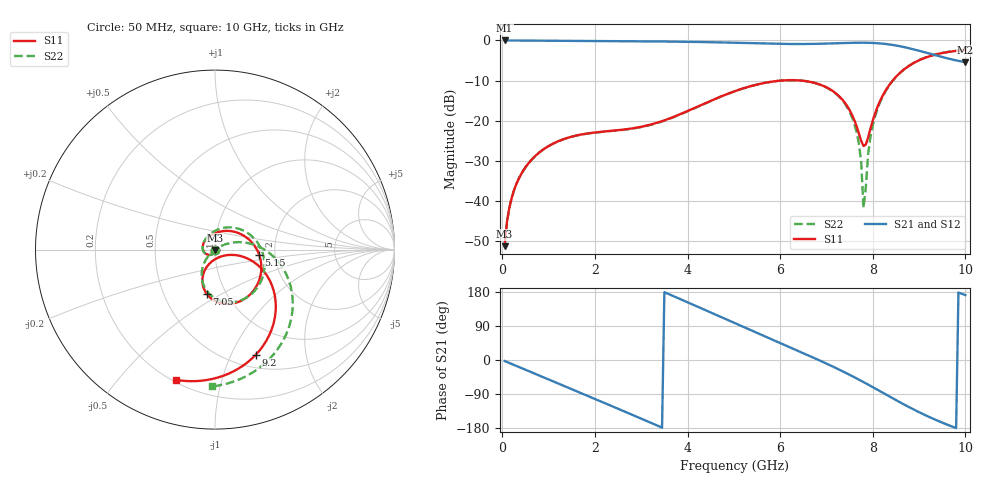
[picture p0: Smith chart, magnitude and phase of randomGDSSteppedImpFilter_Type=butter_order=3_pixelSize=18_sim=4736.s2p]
! freq	dB(S11)	phase(S11)	dB(S12)	phase(S12)
!  dB(S21)	phase(S21)	dB(S22)	phase(S22)
!S-par simulation data
#  GHz  S  DB  R 50
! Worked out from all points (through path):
!   200 points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, 50 MHz to 10 GHz, reference 50 ohm
!   highest |S21| = -0.01 dB at 50 MHz (marker M1); lowest = -5.4 dB at 10 GHz (marker M2)
!   group delay of S21, straight-line fit = 153 ps
!   lowest |S11| = -51.3 dB at 50 MHz (marker M3), VSWR 1.01, Z = 50 - j0.272 ohm
!   |S11| at or under -10 dB: start of sweep to 6.024 GHz; 6.455 GHz to 8.431 GHz (1.976 GHz wide, 26.6 % of centre)
!   |S22| runs from -51.1 to -2.4 dB; largest |S21 - S12| = 0
!   S11 on the Smith chart (normalised r, x): 50 MHz: 1.00, -0.01; 5.15 GHz: 1.65, -0.10; 7.05 GHz: 0.81, -0.43; 9.2 GHz: 0.64, -1.25; 10 GHz: 0.21, -0.72
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0.05  -51.27 -83.7  -0.01 -2.6  -0.01 -2.6  -51.05 -83.9
0.2  -39.34 -98.5  -0.02 -10.3  -0.02 -10.3  -39.39 -98.0
0.5  -31.62 -116.3  -0.04 -25.7  -0.04 -25.7  -31.62 -115.3
1.15  -25.42 -151.9  -0.08 -59.1  -0.08 -59.1  -25.42 -149.0
1.75  -23.35 175.4  -0.12 -89.9  -0.12 -89.9  -23.37 -179.1
2.5  -22.37 133.5  -0.18 -128.6  -0.18 -128.6  -22.41 144.1
3.4  -20.30 83.3  -0.26 -175.8  -0.26 -175.8  -20.38 99.6
4.15  -16.83 44.1  -0.37 144.3  -0.37 144.3  -16.89 60.2
5.05  -12.53 -1.4  -0.59 95.8  -0.59 95.8  -12.54 11.4
5.15  -12.14 -6.4  -0.62 90.4  -0.62 90.4  -12.15 5.9
5.85  -10.22 -41.6  -0.83 52.9  -0.83 52.9  -10.22 -31.8
6.7  -10.45 -83.6  -0.87 7.2  -0.87 7.2  -10.47 -77.4
7.05  -11.99 -100.4  -0.77 -12.3  -0.77 -12.3  -12.05 -96.9
7.6  -19.81 -115.1  -0.58 -45.3  -0.58 -45.3  -20.72 -129.7
7.75  -25.02 -93.6  -0.56 -55.0  -0.56 -55.0  -30.34 -139.1
7.8  -26.30 -73.9  -0.56 -58.2  -0.56 -58.2  -41.74 -141.8
7.9  -24.14 -32.6  -0.58 -64.8  -0.58 -64.8  -28.28 30.7
8  -19.95 -17.0  -0.62 -71.6  -0.62 -71.6  -21.12 24.1
8.35  -11.21 -21.8  -0.99 -95.5  -0.99 -95.5  -11.31 0.4
8.8  -6.20 -46.6  -1.99 -125.4  -1.99 -125.4  -6.18 -29.2
9.2  -4.04 -68.8  -3.20 -149.3  -3.20 -149.3  -4.00 -52.8
10  -2.41 -106.8  -5.44 171.3  -5.44 171.3  -2.35 -91.4
